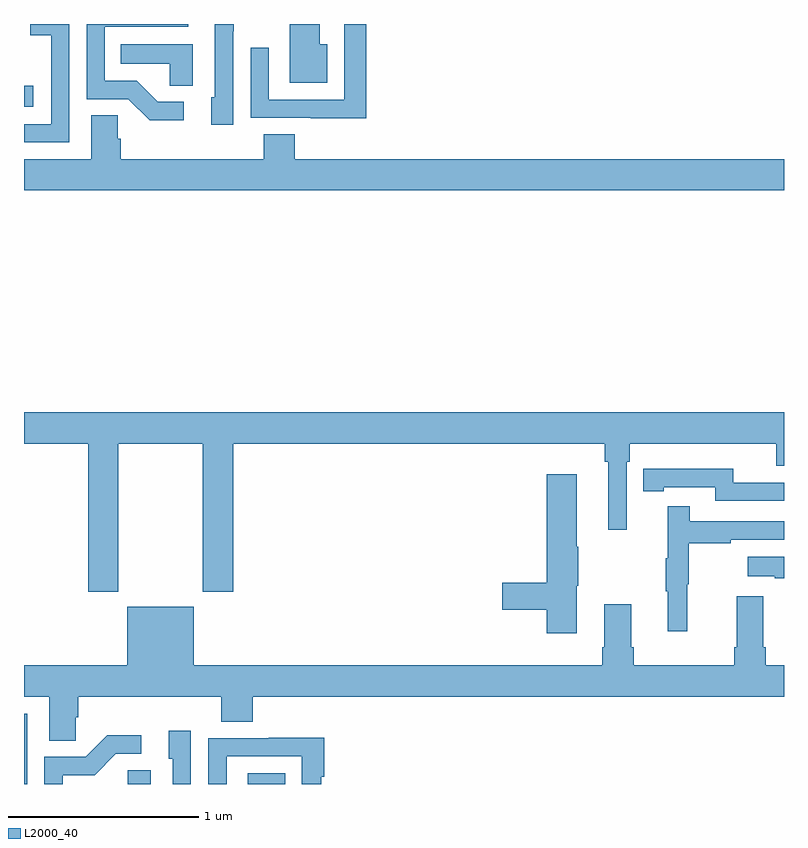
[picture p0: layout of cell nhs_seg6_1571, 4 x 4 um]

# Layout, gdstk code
import gdstk
lib = gdstk.Library(unit=1e-6, precision=1e-09)
def R(c, l, rs):  # rectangles x0, y0, x1, y1
    for r in rs: c.add(gdstk.rectangle(r[:2], r[2:], *l))
def P(c, l, *ps):  # polygons
    for p in ps: c.add(gdstk.Polygon(p, *l))
L2000_40 = (2000, 40)

nhs_seg6_1571 = lib.new_cell('nhs_seg6_1571')
R(nhs_seg6_1571, L2000_40, [(205,989.5,205.017,989.871), (205.545,989.5,205.666,989.573), (206.177,989.5,206.374,989.557), (205,993.065,205.048,993.175)])
P(nhs_seg6_1571, L2000_40, [(206.596,993.394),(206.557,993.394),(206.557,993.5),(206.399,993.5),(206.399,993.191),(206.596,993.191)],
  [(206.1,993.463),(206.103,993.463),(206.103,993.5),(206.004,993.5),(206.004,993.114),(205.985,993.114),(205.985,992.97),(206.1,992.97)],
  [(205.239,993.5),(205.033,993.5),(205.033,993.442),(205.143,993.442),(205.143,992.973),(205,992.973),(205,992.877),(205.239,992.877)],
  [(206.801,993.5),(206.685,993.5),(206.685,993.102),(206.289,993.102),(206.289,993.376),(206.193,993.376),(206.193,993.006),(206.509,993.006),(206.509,993.005),(206.801,993.005)],
  [(205.84,993.09),(205.705,993.09),(205.594,993.201),(205.425,993.201),(205.425,993.486),(205.864,993.486),(205.864,993.5),(205.329,993.5),(205.329,993.105),(205.548,993.105),(205.661,992.993),(205.84,992.993)],
  [(205.888,993.394),(205.51,993.394),(205.51,993.29),(205.767,993.29),(205.767,993.175),(205.888,993.175)],
  [(209,992.788),(206.426,992.788),(206.426,992.921),(206.261,992.921),(206.261,992.788),(205.508,992.788),(205.508,992.897),(205.494,992.897),(205.494,993.02),(205.355,993.02),(205.355,992.788),(205,992.788),(205,992.624),(209,992.624)],
  [(205.497,991.292),(205.942,991.292),(205.942,990.513),(206.102,990.513),(206.102,991.292),(208.057,991.292),(208.057,991.196),(208.076,991.196),(208.076,990.837),(208.173,990.837),(208.173,991.196),(208.187,991.196),(208.187,991.292),(208.958,991.292),(208.958,991.175),(209,991.175),(209,991.456),(205,991.456),(205,991.292),(205.337,991.292),(205.337,990.513),(205.497,990.513)],
  [(209,991.086),(208.734,991.086),(208.734,991.159),(208.366,991.159),(208.366,991.158),(208.258,991.158),(208.258,991.042),(208.366,991.042),(208.366,991.062),(208.638,991.062),(208.638,990.99),(209,990.99)],
  [(207.91,990.543),(207.918,990.543),(207.918,990.749),(207.91,990.749),(207.91,991.129),(207.752,991.129),(207.752,990.56),(207.516,990.56),(207.516,990.418),(207.752,990.418),(207.752,990.294),(207.91,990.294)],
  [(208.49,990.552),(208.498,990.552),(208.498,990.766),(208.721,990.766),(208.721,990.786),(209,990.786),(209,990.882),(208.505,990.882),(208.505,990.961),(208.388,990.961),(208.388,990.689),(208.377,990.689),(208.377,990.515),(208.388,990.515),(208.388,990.303),(208.49,990.303)],
  [(209,990.697),(208.809,990.697),(208.809,990.593),(208.952,990.593),(208.952,990.583),(209,990.583)],
  [(209,990.124),(208.904,990.124),(208.904,990.22),(208.891,990.22),(208.891,990.487),(208.751,990.487),(208.751,990.22),(208.739,990.22),(208.739,990.124),(208.208,990.124),(208.208,990.22),(208.195,990.22),(208.195,990.445),(208.055,990.445),(208.055,990.22),(208.043,990.22),(208.043,990.124),(205.894,990.124),(205.894,990.433),(205.544,990.433),(205.544,990.124),(205,990.124),(205,989.96),(205.133,989.96),(205.133,989.728),(205.272,989.728),(205.272,989.851),(205.286,989.851),(205.286,989.96),(206.039,989.96),(206.039,989.827),(206.204,989.827),(206.204,989.96),(209,989.96)],
  [(205.878,989.779),(205.763,989.779),(205.763,989.634),(205.782,989.634),(205.782,989.5),(205.878,989.5)],
  [(205.203,989.547),(205.372,989.547),(205.483,989.658),(205.618,989.658),(205.618,989.756),(205.439,989.756),(205.326,989.643),(205.107,989.643),(205.107,989.5),(205.203,989.5)],
  [(206.067,989.646),(206.463,989.646),(206.463,989.5),(206.564,989.5),(206.564,989.539),(206.579,989.539),(206.579,989.744),(206.287,989.744),(206.287,989.742),(205.971,989.742),(205.971,989.5),(206.067,989.5)])

lib.write_gds('nhs_seg6_1571.gds')
